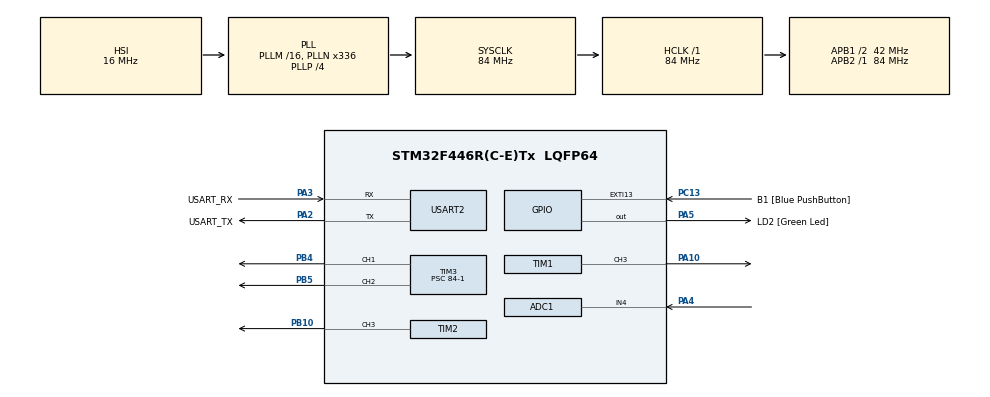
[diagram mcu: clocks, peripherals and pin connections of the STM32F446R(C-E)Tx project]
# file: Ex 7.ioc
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ADC1.Channel-0\#ChannelRegularConversion=ADC_CHANNEL_4
ADC1.ExternalTrigConv=ADC_SOFTWARE_START
ADC1.NbrOfConversionFlag=1
ADC1.Rank-0\#ChannelRegularConversion=1
ADC1.SamplingTime-0\#ChannelRegularConversion=ADC_SAMPLETIME_3CYCLES
ADC1.master=1
Mcu.Family=STM32F4
Mcu.Name=STM32F446R(C-E)Tx
Mcu.Package=LQFP64
NVIC.PriorityGroup=NVIC_PRIORITYGROUP_0
NVIC.TIM6_DAC_IRQn=true\:0\:0\:false\:false\:true\:true\:true\:true
PA10.Signal=S_TIM1_CH3
PA13.GPIO_Label=TMS
PA13.Mode=Serial_Wire
PA13.Signal=SYS_JTMS-SWDIO
PA14.GPIO_Label=TCK
PA14.Mode=Serial_Wire
PA14.Signal=SYS_JTCK-SWCLK
PA2.GPIO_Label=USART_TX
PA2.Mode=Asynchronous
PA2.Signal=USART2_TX
PA3.GPIO_Label=USART_RX
PA3.Mode=Asynchronous
PA3.Signal=USART2_RX
PA4.Signal=ADCx_IN4
PA5.GPIO_Label=LD2 [Green Led]
PA5.Signal=GPIO_Output
PB10.Signal=S_TIM2_CH3
PB3.GPIO_Label=SWO
PB3.Signal=SYS_JTDO-SWO
PB4.Signal=S_TIM3_CH1
PB5.Signal=S_TIM3_CH2
PC13.GPIO_Label=B1 [Blue PushButton]
PC13.GPIO_ModeDefaultEXTI=GPIO_MODE_IT_FALLING
PC13.Signal=GPXTI13
PC14-OSC32_IN.Mode=LSE-External-Oscillator
PC14-OSC32_IN.Signal=RCC_OSC32_IN
PC15-OSC32_OUT.Mode=LSE-External-Oscillator
PC15-OSC32_OUT.Signal=RCC_OSC32_OUT
PH0-OSC_IN.Mode=HSE-External-Oscillator
PH0-OSC_IN.Signal=RCC_OSC_IN
PH1-OSC_OUT.Mode=HSE-External-Oscillator
PH1-OSC_OUT.Signal=RCC_OSC_OUT
ProjectManager.HeapSize=0x200
ProjectManager.StackSize=0x400
ProjectManager.TargetToolchain=STM32CubeIDE
RCC.48MHZClocksFreq_Value=84000000
RCC.AHBFreq_Value=84000000
RCC.APB1CLKDivider=RCC_HCLK_DIV2
RCC.APB1Freq_Value=42000000
RCC.APB1TimFreq_Value=84000000
RCC.APB2Freq_Value=84000000
RCC.APB2TimFreq_Value=84000000
RCC.CortexFreq_Value=84000000
RCC.FLatency-AdvancedSettings=FLASH_LATENCY_2
RCC.HCLKFreq_Value=84000000
RCC.HSE_VALUE=8000000
RCC.HSI_VALUE=16000000
RCC.PLLN=336
RCC.PLLP=RCC_PLLP_DIV4
RCC.SYSCLKFreq_VALUE=84000000
RCC.SYSCLKSource=RCC_SYSCLKSOURCE_PLLCLK
RCC.USBFreq_Value=168000000
RCC.VCOOutputFreq_Value=336000000
SH.ADCx_IN4.0=ADC1_IN4,IN4
SH.S_TIM1_CH3.0=TIM1_CH3,PWM Generation3 CH3
SH.S_TIM2_CH3.0=TIM2_CH3,PWM Generation3 CH3
SH.S_TIM3_CH1.0=TIM3_CH1,PWM Generation1 CH1
SH.S_TIM3_CH2.0=TIM3_CH2,PWM Generation2 CH2
TIM1.Channel-PWM\ Generation3\ CH3=TIM_CHANNEL_3
TIM1.Period=1024-1
TIM1.Prescaler=84-1
TIM2.Channel-PWM\ Generation3\ CH3=TIM_CHANNEL_3
TIM2.Period=1024-1
TIM2.Prescaler=84-1
TIM3.Channel-PWM\ Generation1\ CH1=TIM_CHANNEL_1
TIM3.Channel-PWM\ Generation2\ CH2=TIM_CHANNEL_2
TIM3.Period=1024-1
TIM3.Prescaler=84-1
TIM6.Period=20000-1
TIM6.Prescaler=84-1
USART2.VirtualMode=VM_ASYNC
VP_TIM1_VS_ClockSourceINT.Mode=Internal
VP_TIM2_VS_ClockSourceINT.Mode=Internal
VP_TIM3_VS_ClockSourceINT.Mode=Internal
VP_TIM6_VS_ClockSourceINT.Mode=Enable_Timer
board=NUCLEO-F446RE

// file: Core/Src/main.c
/* USER CODE BEGIN Header */
/**
  ******************************************************************************
  * @file           : main.c
  * @brief          : Main program body
  ******************************************************************************
  * @attention
  *
  * Copyright (c) 2026 STMicroelectronics.
  * All rights reserved.
  *
  * This software is licensed under terms that can be found in the LICENSE file
  * in the root directory of this software component.
  * If no LICENSE file comes with this software, it is provided AS-IS.
  *
  ******************************************************************************
  */
/* USER CODE END Header */
#include "main.h"

/* USER CODE BEGIN Includes */
#include "math.h"
/* USER CODE END Includes */

ADC_HandleTypeDef hadc1;

TIM_HandleTypeDef htim1;
TIM_HandleTypeDef htim2;
TIM_HandleTypeDef htim3;
TIM_HandleTypeDef htim6;

UART_HandleTypeDef huart2;

/* USER CODE BEGIN PV */
uint16_t pwm_duty_LED1;
uint16_t pwm_duty_LED2;
uint16_t pwm_duty_LED3;
uint16_t pwm_duty_LED4;

uint16_t adc_buffer[1];
float v_pot;
/* USER CODE END PV */

void SystemClock_Config(void);
static void MX_GPIO_Init(void);
static void MX_USART2_UART_Init(void);
static void MX_TIM2_Init(void);
static void MX_TIM6_Init(void);
static void MX_TIM1_Init(void);
static void MX_TIM3_Init(void);
static void MX_ADC1_Init(void);

int main(void)
{

  /* MCU Configuration--------------------------------------------------------*/

  /* Reset of all peripherals, Initializes the Flash interface and the Systick. */
  HAL_Init();

  /* Configure the system clock */
  SystemClock_Config();

  /* Initialize all configured peripherals */
  MX_GPIO_Init();
  MX_USART2_UART_Init();
  MX_TIM2_Init();
  MX_TIM6_Init();
  MX_TIM1_Init();
  MX_TIM3_Init();
  MX_ADC1_Init();
  /* USER CODE BEGIN 2 */
  HAL_TIM_PWM_Start(&htim2, TIM_CHANNEL_3);	// start timer2 PWM channel 3 (LED1)
  HAL_TIM_PWM_Start(&htim3, TIM_CHANNEL_1);	// start timer2 PWM channel 3 (LED2)
  HAL_TIM_PWM_Start(&htim1, TIM_CHANNEL_3);	// start timer1 PWM channel 3 (LED3)
  HAL_TIM_PWM_Start(&htim3, TIM_CHANNEL_2);	// start timer3 PWM channel 2 (LED4)

  HAL_TIM_Base_Start_IT(&htim6);				// start timer6 to generate interrupt
  /* USER CODE END 2 */

  /* Infinite loop */
  while (1)
  {

  }
}

void SystemClock_Config(void)
{
  RCC_OscInitTypeDef RCC_OscInitStruct = {0};
  RCC_ClkInitTypeDef RCC_ClkInitStruct = {0};

  /** Configure the main internal regulator output voltage
  */
  __HAL_RCC_PWR_CLK_ENABLE();
  __HAL_PWR_VOLTAGESCALING_CONFIG(PWR_REGULATOR_VOLTAGE_SCALE3);

  /** Initializes the RCC Oscillators according to the specified parameters
  * in the RCC_OscInitTypeDef structure.
  */
  RCC_OscInitStruct.OscillatorType = RCC_OSCILLATORTYPE_HSI;
  RCC_OscInitStruct.HSIState = RCC_HSI_ON;
  RCC_OscInitStruct.HSICalibrationValue = RCC_HSICALIBRATION_DEFAULT;
  RCC_OscInitStruct.PLL.PLLState = RCC_PLL_ON;
  RCC_OscInitStruct.PLL.PLLSource = RCC_PLLSOURCE_HSI;
  RCC_OscInitStruct.PLL.PLLM = 16;
  RCC_OscInitStruct.PLL.PLLN = 336;
  RCC_OscInitStruct.PLL.PLLP = RCC_PLLP_DIV4;
  RCC_OscInitStruct.PLL.PLLQ = 2;
  RCC_OscInitStruct.PLL.PLLR = 2;
  if (HAL_RCC_OscConfig(&RCC_OscInitStruct) != HAL_OK)
  {
    Error_Handler();
  }

  /** Initializes the CPU, AHB and APB buses clocks
  */
  RCC_ClkInitStruct.ClockType = RCC_CLOCKTYPE_HCLK|RCC_CLOCKTYPE_SYSCLK
                              |RCC_CLOCKTYPE_PCLK1|RCC_CLOCKTYPE_PCLK2;
  RCC_ClkInitStruct.SYSCLKSource = RCC_SYSCLKSOURCE_PLLCLK;
  RCC_ClkInitStruct.AHBCLKDivider = RCC_SYSCLK_DIV1;
  RCC_ClkInitStruct.APB1CLKDivider = RCC_HCLK_DIV2;
  RCC_ClkInitStruct.APB2CLKDivider = RCC_HCLK_DIV1;

  if (HAL_RCC_ClockConfig(&RCC_ClkInitStruct, FLASH_LATENCY_2) != HAL_OK)
  {
    Error_Handler();
  }
}

static void MX_ADC1_Init(void)
{

  ADC_ChannelConfTypeDef sConfig = {0};

  /** Configure the global features of the ADC (Clock, Resolution, Data Alignment and number of conversion)
  */
  hadc1.Instance = ADC1;
  hadc1.Init.ClockPrescaler = ADC_CLOCK_SYNC_PCLK_DIV4;
  hadc1.Init.Resolution = ADC_RESOLUTION_12B;
  hadc1.Init.ScanConvMode = DISABLE;
  hadc1.Init.ContinuousConvMode = DISABLE;
  hadc1.Init.DiscontinuousConvMode = DISABLE;
  hadc1.Init.ExternalTrigConvEdge = ADC_EXTERNALTRIGCONVEDGE_NONE;
  hadc1.Init.ExternalTrigConv = ADC_SOFTWARE_START;
  hadc1.Init.DataAlign = ADC_DATAALIGN_RIGHT;
  hadc1.Init.NbrOfConversion = 1;
  hadc1.Init.DMAContinuousRequests = DISABLE;
  hadc1.Init.EOCSelection = ADC_EOC_SINGLE_CONV;
  if (HAL_ADC_Init(&hadc1) != HAL_OK)
  {
    Error_Handler();
  }

  /** Configure for the selected ADC regular channel its corresponding rank in the sequencer and its sample time.
  */
  sConfig.Channel = ADC_CHANNEL_4;
  sConfig.Rank = 1;
  sConfig.SamplingTime = ADC_SAMPLETIME_3CYCLES;
  if (HAL_ADC_ConfigChannel(&hadc1, &sConfig) != HAL_OK)
  {
    Error_Handler();
  }

}

static void MX_TIM1_Init(void)
{

  TIM_ClockConfigTypeDef sClockSourceConfig = {0};
  TIM_MasterConfigTypeDef sMasterConfig = {0};
  TIM_OC_InitTypeDef sConfigOC = {0};
  TIM_BreakDeadTimeConfigTypeDef sBreakDeadTimeConfig = {0};

  htim1.Instance = TIM1;
  htim1.Init.Prescaler = 84-1;
  htim1.Init.CounterMode = TIM_COUNTERMODE_UP;
  htim1.Init.Period = 1024-1;
  htim1.Init.ClockDivision = TIM_CLOCKDIVISION_DIV1;
  htim1.Init.RepetitionCounter = 0;
  htim1.Init.AutoReloadPreload = TIM_AUTORELOAD_PRELOAD_DISABLE;
  if (HAL_TIM_Base_Init(&htim1) != HAL_OK)
  {
    Error_Handler();
  }
  sClockSourceConfig.ClockSource = TIM_CLOCKSOURCE_INTERNAL;
  if (HAL_TIM_ConfigClockSource(&htim1, &sClockSourceConfig) != HAL_OK)
  {
    Error_Handler();
  }
  if (HAL_TIM_PWM_Init(&htim1) != HAL_OK)
  {
    Error_Handler();
  }
  sMasterConfig.MasterOutputTrigger = TIM_TRGO_RESET;
  sMasterConfig.MasterSlaveMode = TIM_MASTERSLAVEMODE_DISABLE;
  if (HAL_TIMEx_MasterConfigSynchronization(&htim1, &sMasterConfig) != HAL_OK)
  {
    Error_Handler();
  }
  sConfigOC.OCMode = TIM_OCMODE_PWM1;
  sConfigOC.Pulse = 0;
  sConfigOC.OCPolarity = TIM_OCPOLARITY_HIGH;
  sConfigOC.OCNPolarity = TIM_OCNPOLARITY_HIGH;
  sConfigOC.OCFastMode = TIM_OCFAST_DISABLE;
  sConfigOC.OCIdleState = TIM_OCIDLESTATE_RESET;
  sConfigOC.OCNIdleState = TIM_OCNIDLESTATE_RESET;
  if (HAL_TIM_PWM_ConfigChannel(&htim1, &sConfigOC, TIM_CHANNEL_3) != HAL_OK)
  {
    Error_Handler();
  }
  sBreakDeadTimeConfig.OffStateRunMode = TIM_OSSR_DISABLE;
  sBreakDeadTimeConfig.OffStateIDLEMode = TIM_OSSI_DISABLE;
  sBreakDeadTimeConfig.LockLevel = TIM_LOCKLEVEL_OFF;
  sBreakDeadTimeConfig.DeadTime = 0;
  sBreakDeadTimeConfig.BreakState = TIM_BREAK_DISABLE;
  sBreakDeadTimeConfig.BreakPolarity = TIM_BREAKPOLARITY_HIGH;
  sBreakDeadTimeConfig.AutomaticOutput = TIM_AUTOMATICOUTPUT_DISABLE;
  if (HAL_TIMEx_ConfigBreakDeadTime(&htim1, &sBreakDeadTimeConfig) != HAL_OK)
  {
    Error_Handler();
  }
  HAL_TIM_MspPostInit(&htim1);

}

static void MX_TIM2_Init(void)
{

  TIM_ClockConfigTypeDef sClockSourceConfig = {0};
  TIM_MasterConfigTypeDef sMasterConfig = {0};
  TIM_OC_InitTypeDef sConfigOC = {0};

  htim2.Instance = TIM2;
  htim2.Init.Prescaler = 84-1;
  htim2.Init.CounterMode = TIM_COUNTERMODE_UP;
  htim2.Init.Period = 1024-1;
  htim2.Init.ClockDivision = TIM_CLOCKDIVISION_DIV1;
  htim2.Init.AutoReloadPreload = TIM_AUTORELOAD_PRELOAD_DISABLE;
  if (HAL_TIM_Base_Init(&htim2) != HAL_OK)
  {
    Error_Handler();
  }
  sClockSourceConfig.ClockSource = TIM_CLOCKSOURCE_INTERNAL;
  if (HAL_TIM_ConfigClockSource(&htim2, &sClockSourceConfig) != HAL_OK)
  {
    Error_Handler();
  }
  if (HAL_TIM_PWM_Init(&htim2) != HAL_OK)
  {
    Error_Handler();
  }
  sMasterConfig.MasterOutputTrigger = TIM_TRGO_RESET;
  sMasterConfig.MasterSlaveMode = TIM_MASTERSLAVEMODE_DISABLE;
  if (HAL_TIMEx_MasterConfigSynchronization(&htim2, &sMasterConfig) != HAL_OK)
  {
    Error_Handler();
  }
  sConfigOC.OCMode = TIM_OCMODE_PWM1;
  sConfigOC.Pulse = 0;
  sConfigOC.OCPolarity = TIM_OCPOLARITY_HIGH;
  sConfigOC.OCFastMode = TIM_OCFAST_DISABLE;
  if (HAL_TIM_PWM_ConfigChannel(&htim2, &sConfigOC, TIM_CHANNEL_3) != HAL_OK)
  {
    Error_Handler();
  }
  HAL_TIM_MspPostInit(&htim2);

}

static void MX_TIM3_Init(void)
{

  TIM_ClockConfigTypeDef sClockSourceConfig = {0};
  TIM_MasterConfigTypeDef sMasterConfig = {0};
  TIM_OC_InitTypeDef sConfigOC = {0};

  htim3.Instance = TIM3;
  htim3.Init.Prescaler = 84-1;
  htim3.Init.CounterMode = TIM_COUNTERMODE_UP;
  htim3.Init.Period = 1024-1;
  htim3.Init.ClockDivision = TIM_CLOCKDIVISION_DIV1;
  htim3.Init.AutoReloadPreload = TIM_AUTORELOAD_PRELOAD_DISABLE;
  if (HAL_TIM_Base_Init(&htim3) != HAL_OK)
  {
    Error_Handler();
  }
  sClockSourceConfig.ClockSource = TIM_CLOCKSOURCE_INTERNAL;
  if (HAL_TIM_ConfigClockSource(&htim3, &sClockSourceConfig) != HAL_OK)
  {
    Error_Handler();
  }
  if (HAL_TIM_PWM_Init(&htim3) != HAL_OK)
  {
    Error_Handler();
  }
  sMasterConfig.MasterOutputTrigger = TIM_TRGO_RESET;
  sMasterConfig.MasterSlaveMode = TIM_MASTERSLAVEMODE_DISABLE;
  if (HAL_TIMEx_MasterConfigSynchronization(&htim3, &sMasterConfig) != HAL_OK)
  {
    Error_Handler();
  }
  sConfigOC.OCMode = TIM_OCMODE_PWM1;
  sConfigOC.Pulse = 0;
  sConfigOC.OCPolarity = TIM_OCPOLARITY_HIGH;
  sConfigOC.OCFastMode = TIM_OCFAST_DISABLE;
  if (HAL_TIM_PWM_ConfigChannel(&htim3, &sConfigOC, TIM_CHANNEL_1) != HAL_OK)
  {
    Error_Handler();
  }
  if (HAL_TIM_PWM_ConfigChannel(&htim3, &sConfigOC, TIM_CHANNEL_2) != HAL_OK)
  {
    Error_Handler();
  }
  HAL_TIM_MspPostInit(&htim3);

}

static void MX_TIM6_Init(void)
{

  TIM_MasterConfigTypeDef sMasterConfig = {0};

  htim6.Instance = TIM6;
  htim6.Init.Prescaler = 84-1;
  htim6.Init.CounterMode = TIM_COUNTERMODE_UP;
  htim6.Init.Period = 20000-1;
  htim6.Init.AutoReloadPreload = TIM_AUTORELOAD_PRELOAD_DISABLE;
  if (HAL_TIM_Base_Init(&htim6) != HAL_OK)
  {
    Error_Handler();
  }
  sMasterConfig.MasterOutputTrigger = TIM_TRGO_RESET;
  sMasterConfig.MasterSlaveMode = TIM_MASTERSLAVEMODE_DISABLE;
  if (HAL_TIMEx_MasterConfigSynchronization(&htim6, &sMasterConfig) != HAL_OK)
  {
    Error_Handler();
  }

}

static void MX_USART2_UART_Init(void)
{

  huart2.Instance = USART2;
  huart2.Init.BaudRate = 115200;
  huart2.Init.WordLength = UART_WORDLENGTH_8B;
  huart2.Init.StopBits = UART_STOPBITS_1;
  huart2.Init.Parity = UART_PARITY_NONE;
  huart2.Init.Mode = UART_MODE_TX_RX;
  huart2.Init.HwFlowCtl = UART_HWCONTROL_NONE;
  huart2.Init.OverSampling = UART_OVERSAMPLING_16;
  if (HAL_UART_Init(&huart2) != HAL_OK)
  {
    Error_Handler();
  }

}

static void MX_GPIO_Init(void)
{
  GPIO_InitTypeDef GPIO_InitStruct = {0};

  /* GPIO Ports Clock Enable */
  __HAL_RCC_GPIOC_CLK_ENABLE();
  __HAL_RCC_GPIOH_CLK_ENABLE();
  __HAL_RCC_GPIOA_CLK_ENABLE();
  __HAL_RCC_GPIOB_CLK_ENABLE();

  /*Configure GPIO pin Output Level */
  HAL_GPIO_WritePin(LD2_GPIO_Port, LD2_Pin, GPIO_PIN_RESET);

  /*Configure GPIO pin : B1_Pin */
  GPIO_InitStruct.Pin = B1_Pin;
  GPIO_InitStruct.Mode = GPIO_MODE_IT_FALLING;
  GPIO_InitStruct.Pull = GPIO_NOPULL;
  HAL_GPIO_Init(B1_GPIO_Port, &GPIO_InitStruct);

  /*Configure GPIO pin : LD2_Pin */
  GPIO_InitStruct.Pin = LD2_Pin;
  GPIO_InitStruct.Mode = GPIO_MODE_OUTPUT_PP;
  GPIO_InitStruct.Pull = GPIO_NOPULL;
  GPIO_InitStruct.Speed = GPIO_SPEED_FREQ_LOW;
  HAL_GPIO_Init(LD2_GPIO_Port, &GPIO_InitStruct);

}

/* USER CODE BEGIN 4 */

// task2

void HAL_TIM_PeriodElapsedCallback(TIM_HandleTypeDef *htim)
{
	static uint16_t counter = 0;

	static float period = 0.02f;

	static float freq1 = 2.0f;
	static float freq3 = 1.0f;
	static float freq4 = 3.0f;

	if(htim == &htim6)
	{
		HAL_ADC_Start(&hadc1);								// start adc conversion
		HAL_ADC_PollForConversion(&hadc1, HAL_MAX_DELAY);	// wait for conversion to finish
		adc_buffer[0] = HAL_ADC_GetValue(&hadc1);			// read converted value
		HAL_ADC_Stop(&hadc1);								// stop adc conversion

		// convert ADC value to PWM duty cycle
		// by doing a bit shift to the right by 2
		// 0-4095 -> 0-1023
		pwm_duty_LED2 = adc_buffer[0] >> 2;

		// TIM 	   2, 3, 3, 1
		// channel 3, 1, 2, 3
		// LED     1, 2, 3, 4
		TIM2->CCR3 = pwm_duty_LED1;
		TIM3->CCR1 = pwm_duty_LED2;
		TIM3->CCR2 = pwm_duty_LED3;
		TIM1->CCR3 = pwm_duty_LED4;

		float time = counter * period;

		float phase = time * 2.0f * M_PI;
		float phase1 = phase * freq1;		// LED1 scale phase
		float phase3 = phase * freq3;		// LED3 scale phase
		float phase4 = phase * freq4;		// LED4 scale phase

		// ensure always positive (0 ~ 2), then re-scale (0 ~ 1)
		float temp1 = (sinf(phase1) + 1.0f) / 2.0f;
		float temp3 = (sinf(phase3) + 1.0f) / 2.0f;
		float temp4 = (sinf(phase4) + 1.0f) / 2.0f;

		// cast float into unsigned int 16 type, then scale to PWM
		pwm_duty_LED1 = (uint16_t)(temp1 * 1024.0f);
		pwm_duty_LED3 = (uint16_t)(temp3 * 1024.0f);
		pwm_duty_LED4 = (uint16_t)(temp4 * 1024.0f);

		counter++;
	}
}

/*
// led pulse setup exercise
void HAL_TIM_PeriodElapsedCallback(TIM_HandleTypeDef *htim)
{
	static uint8_t updown_count_flag = 1;	// local static variable up or down counting flag

	if(htim == &htim6)						// was interrupt generated by timer 6?
	{
		TIM2->CCR3 = pwm_duty_LED1;			// set the duty period for timer2, channel 3 (LED1 on shield)
		if(updown_count_flag == 1)			// up count
		{
			pwm_duty_LED1 = pwm_duty_LED1+16;
			if(pwm_duty_LED1 >= 1024)			// check max duty period
			{
				updown_count_flag = 0;
			}
		}
		else								// down count
		{
			pwm_duty_LED1 = pwm_duty_LED1-16;
			if(pwm_duty_LED1 <= 0)				// check min duty period
			{
				updown_count_flag = 1;
			}
		}
	}
}
*/

/* USER CODE END 4 */

void Error_Handler(void)
{
  __disable_irq();
  while (1)
  {
  }
}
